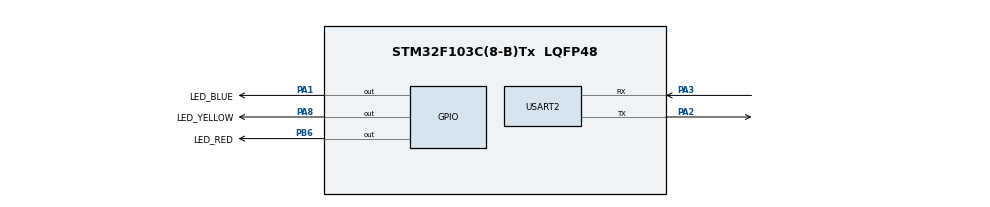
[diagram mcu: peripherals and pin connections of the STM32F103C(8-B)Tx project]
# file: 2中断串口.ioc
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Mcu.Family=STM32F1
Mcu.Name=STM32F103C(8-B)Tx
Mcu.Package=LQFP48
NVIC.PriorityGroup=NVIC_PRIORITYGROUP_4
NVIC.USART2_IRQn=true\:15\:0\:true\:false\:true\:true\:true\:true
PA1.GPIO_Label=LED_BLUE
PA1.GPIO_PuPd=GPIO_NOPULL
PA1.PinState=GPIO_PIN_SET
PA1.Signal=GPIO_Output
PA13.Mode=Serial_Wire
PA13.Signal=SYS_JTMS-SWDIO
PA14.Mode=Serial_Wire
PA14.Signal=SYS_JTCK-SWCLK
PA2.Mode=Asynchronous
PA2.Signal=USART2_TX
PA3.Mode=Asynchronous
PA3.Signal=USART2_RX
PA8.GPIO_Label=LED_YELLOW
PA8.GPIO_PuPd=GPIO_NOPULL
PA8.PinState=GPIO_PIN_SET
PA8.Signal=GPIO_Output
PB6.GPIO_Label=LED_RED
PB6.GPIO_PuPd=GPIO_NOPULL
PB6.PinState=GPIO_PIN_SET
PB6.Signal=GPIO_Output
PC14-OSC32_IN.Mode=LSE-External-Oscillator
PC14-OSC32_IN.Signal=RCC_OSC32_IN
PC15-OSC32_OUT.Mode=LSE-External-Oscillator
PC15-OSC32_OUT.Signal=RCC_OSC32_OUT
PD0-OSC_IN.Mode=HSE-External-Oscillator
PD0-OSC_IN.Signal=RCC_OSC_IN
PD1-OSC_OUT.Mode=HSE-External-Oscillator
PD1-OSC_OUT.Signal=RCC_OSC_OUT
ProjectManager.HeapSize=0x200
ProjectManager.StackSize=0x400
ProjectManager.TargetToolchain=MDK-ARM V5.32
RCC.APB1Freq_Value=8000000
RCC.APB2Freq_Value=8000000
USART2.VirtualMode=VM_ASYNC
board=custom

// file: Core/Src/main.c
/* USER CODE BEGIN Header */
/**
  ******************************************************************************
  * @file           : main.c
  * @brief          : Main program body
  ******************************************************************************
  * @attention
  *
  * Copyright (c) 2026 STMicroelectronics.
  * All rights reserved.
  *
  * This software is licensed under terms that can be found in the LICENSE file
  * in the root directory of this software component.
  * If no LICENSE file comes with this software, it is provided AS-IS.
  *
  ******************************************************************************
  */
/* USER CODE END Header */
#include "main.h"

/* USER CODE BEGIN Includes */
#include<string.h>
/* USER CODE END Includes */

UART_HandleTypeDef huart2;

/* USER CODE BEGIN PV */
uint8_t receiveDate[2];
/* USER CODE END PV */

void SystemClock_Config(void);
static void MX_GPIO_Init(void);
static void MX_USART2_UART_Init(void);

/* USER CODE BEGIN 0 */
void HAL_UART_RxCpltCallback(UART_HandleTypeDef *huart)
{

		HAL_UART_Transmit_IT (&huart2,receiveDate ,2);
		GPIO_PinState state=GPIO_PIN_SET ;
		if(receiveDate [1]=='1')
		{
		state =GPIO_PIN_RESET ;
		}
		if(receiveDate [0]=='B')
		{
		HAL_GPIO_WritePin (LED_BLUE_GPIO_Port ,LED_BLUE_Pin ,state);
		}
		else if(receiveDate [0]=='R')
		{
		HAL_GPIO_WritePin (LED_RED_GPIO_Port ,LED_RED_Pin ,state);
		}
		else if(receiveDate [0]=='Y')
		{
		HAL_GPIO_WritePin (LED_YELLOW_GPIO_Port ,LED_YELLOW_Pin ,state);
		}
		HAL_UART_Receive_IT (&huart2 ,receiveDate ,2);
}
/* USER CODE END 0 */

int main(void)
{

  /* MCU Configuration--------------------------------------------------------*/

  /* Reset of all peripherals, Initializes the Flash interface and the Systick. */
  HAL_Init();

  /* Configure the system clock */
  SystemClock_Config();

  /* Initialize all configured peripherals */
  MX_GPIO_Init();
  MX_USART2_UART_Init();
  /* USER CODE BEGIN 2 */

HAL_UART_Receive_IT(&huart2 ,receiveDate ,2);
  /* USER CODE END 2 */

  /* Infinite loop */
  /* USER CODE BEGIN WHILE */
  while (1)
  {
		//HAL_UART_Receive (&huart2 ,receiveDate ,2,HAL_MAX_DELAY );

	//	HAL_UART_Transmit(&huart2,receiveDate ,2,100);

    /* USER CODE END WHILE */

  }
}

void SystemClock_Config(void)
{
  RCC_OscInitTypeDef RCC_OscInitStruct = {0};
  RCC_ClkInitTypeDef RCC_ClkInitStruct = {0};

  /** Initializes the RCC Oscillators according to the specified parameters
  * in the RCC_OscInitTypeDef structure.
  */
  RCC_OscInitStruct.OscillatorType = RCC_OSCILLATORTYPE_HSI;
  RCC_OscInitStruct.HSIState = RCC_HSI_ON;
  RCC_OscInitStruct.HSICalibrationValue = RCC_HSICALIBRATION_DEFAULT;
  RCC_OscInitStruct.PLL.PLLState = RCC_PLL_NONE;
  if (HAL_RCC_OscConfig(&RCC_OscInitStruct) != HAL_OK)
  {
    Error_Handler();
  }

  /** Initializes the CPU, AHB and APB buses clocks
  */
  RCC_ClkInitStruct.ClockType = RCC_CLOCKTYPE_HCLK|RCC_CLOCKTYPE_SYSCLK
                              |RCC_CLOCKTYPE_PCLK1|RCC_CLOCKTYPE_PCLK2;
  RCC_ClkInitStruct.SYSCLKSource = RCC_SYSCLKSOURCE_HSI;
  RCC_ClkInitStruct.AHBCLKDivider = RCC_SYSCLK_DIV1;
  RCC_ClkInitStruct.APB1CLKDivider = RCC_HCLK_DIV1;
  RCC_ClkInitStruct.APB2CLKDivider = RCC_HCLK_DIV1;

  if (HAL_RCC_ClockConfig(&RCC_ClkInitStruct, FLASH_LATENCY_0) != HAL_OK)
  {
    Error_Handler();
  }
}

static void MX_USART2_UART_Init(void)
{

  huart2.Instance = USART2;
  huart2.Init.BaudRate = 115200;
  huart2.Init.WordLength = UART_WORDLENGTH_8B;
  huart2.Init.StopBits = UART_STOPBITS_1;
  huart2.Init.Parity = UART_PARITY_NONE;
  huart2.Init.Mode = UART_MODE_TX_RX;
  huart2.Init.HwFlowCtl = UART_HWCONTROL_NONE;
  huart2.Init.OverSampling = UART_OVERSAMPLING_16;
  if (HAL_UART_Init(&huart2) != HAL_OK)
  {
    Error_Handler();
  }

}

static void MX_GPIO_Init(void)
{
  GPIO_InitTypeDef GPIO_InitStruct = {0};

  /* GPIO Ports Clock Enable */
  __HAL_RCC_GPIOC_CLK_ENABLE();
  __HAL_RCC_GPIOD_CLK_ENABLE();
  __HAL_RCC_GPIOA_CLK_ENABLE();
  __HAL_RCC_GPIOB_CLK_ENABLE();

  /*Configure GPIO pin Output Level */
  HAL_GPIO_WritePin(GPIOA, LED_BLUE_Pin|LED_YELLOW_Pin, GPIO_PIN_SET);

  /*Configure GPIO pin Output Level */
  HAL_GPIO_WritePin(LED_RED_GPIO_Port, LED_RED_Pin, GPIO_PIN_SET);

  /*Configure GPIO pins : LED_BLUE_Pin LED_YELLOW_Pin */
  GPIO_InitStruct.Pin = LED_BLUE_Pin|LED_YELLOW_Pin;
  GPIO_InitStruct.Mode = GPIO_MODE_OUTPUT_PP;
  GPIO_InitStruct.Pull = GPIO_NOPULL;
  GPIO_InitStruct.Speed = GPIO_SPEED_FREQ_LOW;
  HAL_GPIO_Init(GPIOA, &GPIO_InitStruct);

  /*Configure GPIO pin : LED_RED_Pin */
  GPIO_InitStruct.Pin = LED_RED_Pin;
  GPIO_InitStruct.Mode = GPIO_MODE_OUTPUT_PP;
  GPIO_InitStruct.Pull = GPIO_NOPULL;
  GPIO_InitStruct.Speed = GPIO_SPEED_FREQ_LOW;
  HAL_GPIO_Init(LED_RED_GPIO_Port, &GPIO_InitStruct);

}

void Error_Handler(void)
{
  __disable_irq();
  while (1)
  {
  }
}
